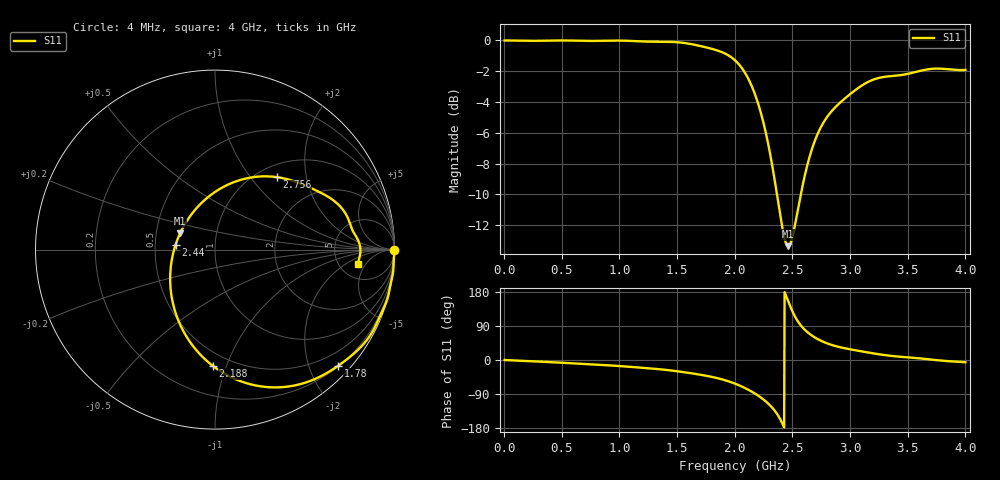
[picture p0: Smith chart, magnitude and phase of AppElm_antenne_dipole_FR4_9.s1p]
! TOUCHSTONE file generated by CST MICROWAVE STUDIO
! Date and time: Thu May 12 14:30:05 2022
! Project name: AppElm_antenne_dipole_FR4.cst
! Parameters = {L=38.8; e=0.035; f=2.45e+09; h=1.6; i=0.92; l1=4; lambda=122.449; ls=30; wl=1.7; ws=80}
! Header version: 2018
! Port assignment regex: !\s*Touchstone port\s*([0-9]+)\s*=\s*(CST MWS port|CST DS port)\s*([0-9]+|Zmin|Zmax)\s*\(\"(.*)\"\)(\s*mode\s*([0-9]+))?.*
! Touchstone port assignment:
! Touchstone port 1 = CST MWS port 1 ("")
# GHz S MA R 50
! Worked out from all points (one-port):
!   1000 points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, 4 MHz to 4 GHz, reference 50 ohm
!   lowest |S11| = -13.4 dB at 2.464 GHz (marker M1), VSWR 1.55, Z = 33.3 + j6.4 ohm
!   |S11| at or under -10 dB: 2.366 GHz to 2.573 GHz (207 MHz wide, 8.38 % of centre)
!   S11 on the Smith chart (normalised r, x): 4 MHz: open; 1.78 GHz: 0.21, -2.51; 2.188 GHz: 0.40, -0.90; 2.44 GHz: 0.64, +0.04; 2.756 GHz: 1.21, +1.36; 4 GHz: 7.51, -3.45
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0.004  1 -0.1
0.504  1 -7.3
1.004  0.9988 -16.1
1.308  0.9902 -23.3
1.504  0.9865 -29.8
1.644  0.9695 -36.0
1.78  0.9437 -43.2
1.9  0.9125 -52.0
2.004  0.8607 -62.6
2.1  0.7721 -75.8
2.144  0.7151 -83.0
2.188  0.6478 -91.1
2.26  0.5188 -107.0
2.32  0.4018 -124.2
2.38  0.2919 -148.8
2.44  0.2214 173.2
2.464  0.2146 154.7
2.504  0.2334 125.7
2.564  0.3043 94.7
2.62  0.3814 76.2
2.684  0.4608 61.4
2.756  0.5307 49.5
2.86  0.6004 37.9
3.004  0.6711 28.0
3.228  0.7518 16.1
3.504  0.7794 6.9
3.724  0.8095 0.5
4  0.8024 -5.9
